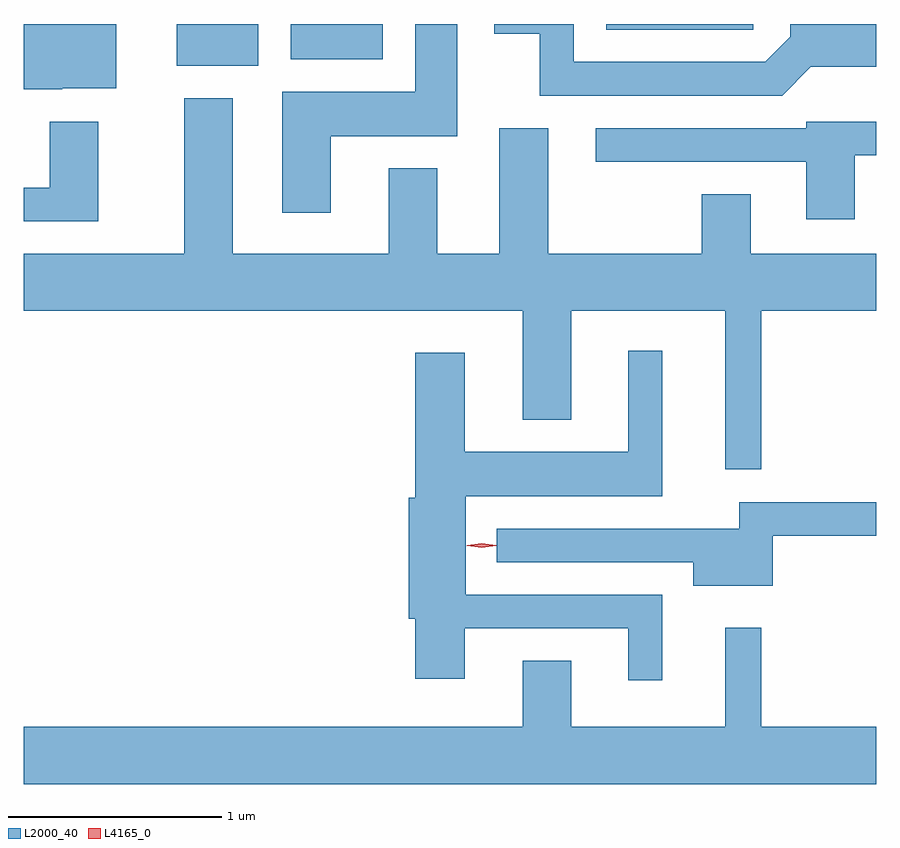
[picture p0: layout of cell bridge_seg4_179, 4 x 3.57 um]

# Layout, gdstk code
import gdstk
lib = gdstk.Library(unit=1e-6, precision=1e-09)
def R(c, l, rs):  # rectangles x0, y0, x1, y1
    for r in rs: c.add(gdstk.rectangle(r[:2], r[2:], *l))
def P(c, l, *ps):  # polygons
    for p in ps: c.add(gdstk.Polygon(p, *l))
L2000_40 = (2000, 40)
L4165_0 = (4165, 0)

bridge_seg4_179 = lib.new_cell('bridge_seg4_179')
R(bridge_seg4_179, L2000_40, [(1062.586,1262.586,1062.969,1262.782), (1063.121,1262.616,1063.554,1262.782), (1064.601,1262.756,1065.293,1262.782)])
P(bridge_seg4_179, L2000_40, [(1062.05,1262.481),(1062.304,1262.481),(1062.304,1262.782),(1061.869,1262.782),(1061.869,1262.476),(1062.05,1262.476)],
  [(1065.562,1262.581),(1065.869,1262.581),(1065.869,1262.782),(1065.466,1262.782),(1065.466,1262.722),(1065.349,1262.604),(1064.449,1262.604),(1064.449,1262.782),(1064.076,1262.782),(1064.076,1262.736),(1064.291,1262.736),(1064.291,1262.446),(1065.427,1262.446)],
  [(1063.309,1262.256),(1063.904,1262.256),(1063.904,1262.782),(1063.706,1262.782),(1063.706,1262.464),(1063.081,1262.464),(1063.081,1261.896),(1063.309,1261.896)],
  [(1065.329,1261.436),(1065.869,1261.436),(1065.869,1261.704),(1065.279,1261.704),(1065.279,1261.984),(1065.051,1261.984),(1065.051,1261.704),(1064.329,1261.704),(1064.329,1262.294),(1064.101,1262.294),(1064.101,1261.704),(1063.809,1261.704),(1063.809,1262.104),(1063.581,1262.104),(1063.581,1261.704),(1062.849,1261.704),(1062.849,1262.434),(1062.621,1262.434),(1062.621,1261.704),(1061.869,1261.704),(1061.869,1261.436),(1064.211,1261.436),(1064.211,1260.926),(1064.439,1260.926),(1064.439,1261.436),(1065.161,1261.436),(1065.161,1260.693),(1065.329,1260.693)],
  [(1062.219,1262.324),(1061.991,1262.324),(1061.991,1262.014),(1061.869,1262.014),(1061.869,1261.856),(1062.219,1261.856)],
  [(1065.769,1262.166),(1065.869,1262.166),(1065.869,1262.324),(1065.541,1262.324),(1065.541,1262.294),(1064.553,1262.294),(1064.553,1262.136),(1065.541,1262.136),(1065.541,1261.866),(1065.769,1261.866)],
  [(1064.864,1260.104),(1063.944,1260.104),(1063.944,1260.566),(1064.864,1260.566),(1064.864,1261.248),(1064.706,1261.248),(1064.706,1260.774),(1063.939,1260.774),(1063.939,1261.239),(1063.706,1261.239),(1063.706,1260.559),(1063.676,1260.559),(1063.676,1259.991),(1063.706,1259.991),(1063.706,1259.711),(1063.939,1259.711),(1063.939,1259.946),(1064.706,1259.946),(1064.706,1259.703),(1064.864,1259.703)],
  [(1065.384,1260.381),(1065.869,1260.381),(1065.869,1260.539),(1065.226,1260.539),(1065.226,1260.414),(1064.088,1260.414),(1064.088,1260.256),(1065.011,1260.256),(1065.011,1260.146),(1065.384,1260.146)],
  [(1065.869,1259.484),(1065.329,1259.484),(1065.329,1259.948),(1065.161,1259.948),(1065.161,1259.484),(1064.439,1259.484),(1064.439,1259.794),(1064.211,1259.794),(1064.211,1259.484),(1061.869,1259.484),(1061.869,1259.216),(1065.869,1259.216)])
P(bridge_seg4_179, L4165_0, [(1064.018,1260.325),(1063.953,1260.334),(1063.953,1260.335),(1063.953,1260.336),(1064.018,1260.345),(1064.082,1260.336),(1064.083,1260.335),(1064.082,1260.334)],
  [(1064.017,1260.325),(1063.949,1260.334),(1063.948,1260.335),(1063.949,1260.336),(1064.017,1260.345),(1064.086,1260.336),(1064.086,1260.335),(1064.086,1260.334)])

lib.write_gds('bridge_seg4_179.gds')
